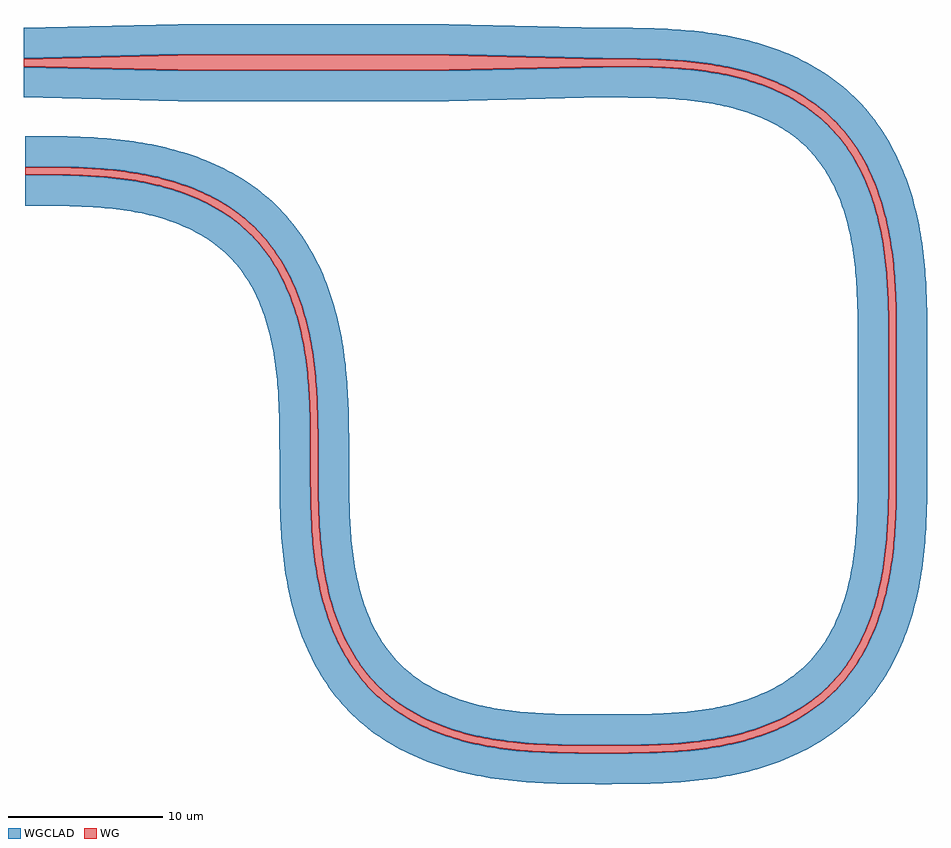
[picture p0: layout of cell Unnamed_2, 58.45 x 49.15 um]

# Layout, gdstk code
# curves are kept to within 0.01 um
from math import pi, radians
import gdstk
lib = gdstk.Library(unit=1e-6, precision=1e-09)
def R(c, l, rs):  # rectangles x0, y0, x1, y1
    for r in rs: c.add(gdstk.rectangle(r[:2], r[2:], *l))
def P(c, l, *ps):  # polygons
    for p in ps: c.add(gdstk.Polygon(p, *l))
WG = (1, 0)
WGCLAD = (111, 0)

taper_cssym_f7fe636c_500 = lib.new_cell('taper_CSsym_f7fe636c_500_CSsym_f7fe636c_1000_L10000')
P(taper_cssym_f7fe636c_500, WG, [(10,-0.5),(0,-0.25),(0,0.25),(10,0.5)])
P(taper_cssym_f7fe636c_500, WGCLAD, [(0,0.25),(0,2.25),(10,2.5),(10,0.5)],
  [(10,-2.5),(0,-2.25),(0,-0.25),(10,-0.5)])

straight_cssym_f7fe636c_ = lib.new_cell('straight_CSsym_f7fe636c_500_L7000')
R(straight_cssym_f7fe636c_, WG, [(0,-0.25,7,0.25)])
R(straight_cssym_f7fe636c_, WGCLAD, [(0,-2.25,7,-0.25), (0,0.25,7,2.25)])

bend_euler_cssym_f7fe636 = lib.new_cell('bend_euler_CSsym_f7fe636c_500_R10_A90_R150')
P(bend_euler_cssym_f7fe636, WG, [(0,-0.25),(0,0.25),(1.609,0.254),(3.214,0.285),(4.28,0.334),(5.343,0.413),(6.4,0.531),(7.449,0.696),(8.229,0.854),(9.255,1.116),(10.011,1.355),(10.752,1.632),(11.476,1.951),(12.178,2.312),(12.855,2.718),(13.501,3.168),(14.111,3.664),(14.496,4.019),(15.037,4.589),(15.372,4.992),(15.838,5.627),(16.258,6.294),(16.634,6.988),(16.967,7.705),(17.258,8.441),(17.51,9.193),(17.724,9.957),(17.956,10.991),(18.133,12.038),(18.262,13.093),(18.351,14.155),(18.416,15.487),(18.447,17.092),(18.451,18.701),(18.951,18.701),(18.947,17.088),(18.924,15.741),(18.866,14.392),(18.786,13.312),(18.665,12.235),(18.544,11.43),(18.393,10.629),(18.139,9.57),(17.906,8.786),(17.532,7.761),(17.201,7.01),(16.826,6.28),(16.403,5.575),(16.095,5.121),(15.591,4.469),(15.04,3.856),(14.441,3.288),(13.801,2.769),(13.126,2.298),(12.421,1.875),(11.691,1.5),(10.94,1.169),(9.915,0.795),(9.131,0.562),(8.072,0.308),(7.271,0.157),(6.466,0.036),(5.389,-0.085),(4.309,-0.165),(2.96,-0.223),(1.613,-0.246)])
P(bend_euler_cssym_f7fe636, WGCLAD, [(0,-2.25),(0,-0.25),(1.613,-0.246),(2.96,-0.223),(4.309,-0.165),(5.389,-0.085),(6.466,0.036),(7.271,0.157),(8.072,0.308),(9.131,0.562),(9.915,0.795),(10.94,1.169),(11.691,1.5),(12.421,1.875),(13.126,2.298),(13.58,2.606),(14.232,3.11),(14.845,3.661),(15.413,4.26),(15.932,4.9),(16.403,5.575),(16.826,6.28),(17.201,7.01),(17.532,7.761),(17.906,8.786),(18.139,9.57),(18.393,10.629),(18.544,11.43),(18.665,12.235),(18.786,13.312),(18.866,14.392),(18.924,15.741),(18.947,17.088),(18.951,18.701),(20.951,18.701),(20.944,16.796),(20.923,15.685),(20.863,14.274),(20.777,13.129),(20.648,11.971),(20.516,11.097),(20.287,9.925),(20.069,9.045),(19.808,8.168),(19.607,7.586),(19.385,7.008),(19.007,6.15),(18.574,5.309),(18.083,4.489),(17.531,3.698),(16.917,2.941),(16.473,2.461),(15.76,1.784),(15.26,1.368),(14.479,0.795),(13.668,0.284),(12.833,-0.168),(11.98,-0.564),(11.115,-0.906),(10.533,-1.107),(9.948,-1.286),(9.069,-1.518),(7.897,-1.764),(6.73,-1.947),(5.572,-2.076),(4.427,-2.162),(3.016,-2.222),(1.905,-2.243)],
  [(0,0.25),(0,2.25),(1.592,2.254),(2.891,2.276),(3.91,2.316),(4.663,2.364),(5.65,2.455),(6.377,2.547),(7.326,2.708),(8.021,2.859),(8.922,3.103),(9.575,3.322),(10.208,3.572),(10.816,3.854),(11.398,4.169),(12.126,4.64),(12.632,5.031),(13.101,5.452),(13.533,5.908),(13.934,6.402),(14.303,6.932),(14.532,7.303),(14.745,7.688),(15.038,8.288),(15.299,8.912),(15.528,9.559),(15.786,10.452),(15.946,11.141),(16.118,12.084),(16.218,12.807),(16.318,13.789),(16.385,14.791),(16.431,16.068),(16.451,18.701),(18.451,18.701),(18.447,17.092),(18.416,15.487),(18.367,14.421),(18.288,13.358),(18.17,12.301),(18.051,11.513),(17.847,10.472),(17.656,9.701),(17.346,8.69),(17.069,7.949),(16.75,7.225),(16.389,6.523),(15.983,5.846),(15.533,5.2),(15.037,4.589),(14.496,4.019),(13.912,3.494),(13.289,3.013),(12.632,2.578),(11.947,2.187),(11.237,1.84),(10.507,1.535),(9.508,1.191),(8.744,0.977),(7.71,0.745),(6.926,0.607),(6.136,0.498),(5.078,0.39),(4.014,0.319),(2.946,0.277),(1.609,0.254)])

c_straight_cssym_f7fe636c_ = lib.new_cell('straight_CSsym_f7fe636c_1000_L17502')
R(c_straight_cssym_f7fe636c_, WG, [(0,-0.5,17.502,0.5)])
R(c_straight_cssym_f7fe636c_, WGCLAD, [(0,-2.5,17.502,-0.5), (0,0.5,17.502,2.5)])

unnamed_2 = lib.new_cell('Unnamed_2')
unnamed_2.add(gdstk.Reference(taper_cssym_f7fe636c_500, (-0.1,7)))
unnamed_2.add(gdstk.Reference(taper_cssym_f7fe636c_500, (37.402,7), rotation=pi))
unnamed_2.add(gdstk.Reference(straight_cssym_f7fe636c_, (56.103,-18.701), rotation=pi/2))
unnamed_2.add(gdstk.Reference(bend_euler_cssym_f7fe636, (37.402,7), x_reflection=True))
unnamed_2.add(gdstk.Reference(bend_euler_cssym_f7fe636, (56.103,-18.701), rotation=3*pi/2, x_reflection=True))
unnamed_2.add(gdstk.Reference(c_straight_cssym_f7fe636c_, (27.402,7), rotation=pi))
unnamed_2.add(gdstk.Reference(bend_euler_cssym_f7fe636, (37.402,-37.402), rotation=pi, x_reflection=True))
unnamed_2.add(gdstk.Reference(bend_euler_cssym_f7fe636, (18.701,-18.701), rotation=pi/2))

lib.write_gds('Unnamed_2.gds')
